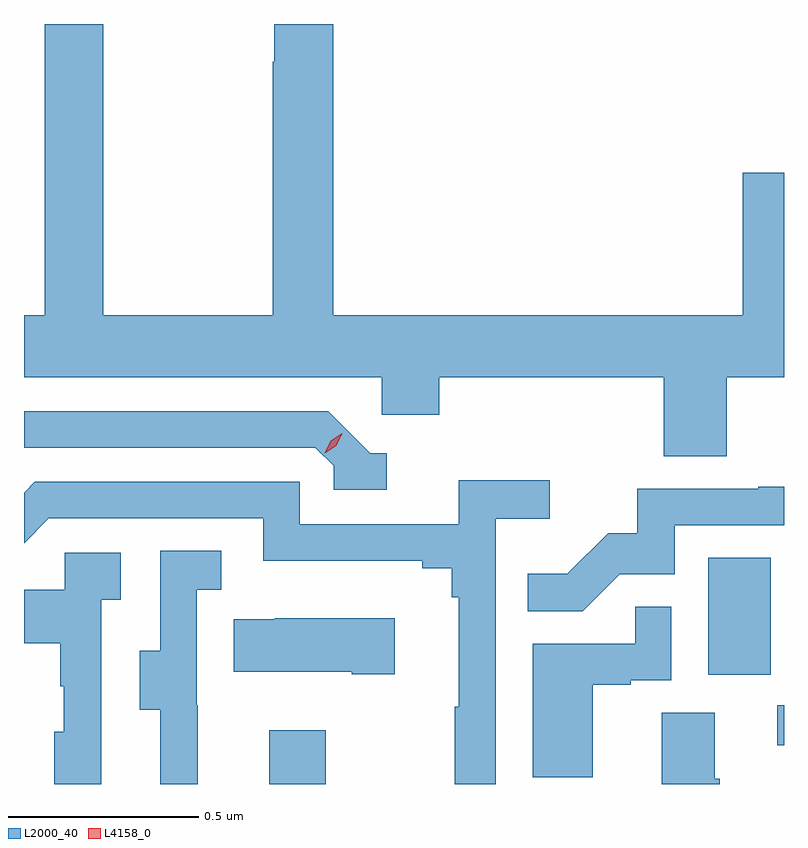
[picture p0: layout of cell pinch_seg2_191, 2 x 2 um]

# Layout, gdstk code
import gdstk
lib = gdstk.Library(unit=1e-6, precision=1e-09)
def R(c, l, rs):  # rectangles x0, y0, x1, y1
    for r in rs: c.add(gdstk.rectangle(r[:2], r[2:], *l))
def P(c, l, *ps):  # polygons
    for p in ps: c.add(gdstk.Polygon(p, *l))
L2000_40 = (2000, 40)
L4158_0 = (4158, 0)

pinch_seg2_191 = lib.new_cell('pinch_seg2_191')
R(pinch_seg2_191, L2000_40, [(1122.803,630.582,1122.951,630.724), (1124.139,630.684,1124.157,630.789), (1123.958,630.87,1124.122,631.177)])
P(pinch_seg2_191, L2000_40, [(1124.006,631.652),(1124.157,631.652),(1124.157,632.191),(1124.048,632.191),(1124.048,631.816),(1122.971,631.816),(1122.971,632.582),(1122.815,632.582),(1122.815,632.483),(1122.811,632.483),(1122.811,631.816),(1122.366,631.816),(1122.366,632.582),(1122.211,632.582),(1122.211,631.816),(1122.157,631.816),(1122.157,631.652),(1123.098,631.652),(1123.098,631.554),(1123.25,631.554),(1123.25,631.652),(1123.841,631.652),(1123.841,631.444),(1124.006,631.444)],
  [(1123.111,631.452),(1123.068,631.452),(1122.957,631.563),(1122.157,631.563),(1122.157,631.467),(1122.924,631.467),(1122.972,631.419),(1122.972,631.356),(1123.111,631.356)],
  [(1123.398,631.28),(1123.54,631.28),(1123.54,631.382),(1123.301,631.382),(1123.301,631.266),(1122.882,631.266),(1122.882,631.377),(1122.185,631.377),(1122.157,631.349),(1122.157,631.216),(1122.222,631.281),(1122.786,631.281),(1122.786,631.169),(1123.205,631.169),(1123.205,631.15),(1123.282,631.15),(1123.282,631.073),(1123.301,631.073),(1123.301,630.785),(1123.29,630.785),(1123.29,630.582),(1123.398,630.582)],
  [(1123.725,631.134),(1123.869,631.134),(1123.869,631.263),(1124.157,631.263),(1124.157,631.364),(1124.089,631.364),(1124.089,631.359),(1123.771,631.359),(1123.771,631.242),(1123.694,631.242),(1123.587,631.135),(1123.483,631.135),(1123.483,631.036),(1123.627,631.036)],
  [(1122.614,630.789),(1122.612,630.789),(1122.612,631.093),(1122.676,631.093),(1122.676,631.196),(1122.516,631.196),(1122.516,630.933),(1122.461,630.933),(1122.461,630.778),(1122.515,630.778),(1122.515,630.582),(1122.614,630.582)],
  [(1122.36,631.067),(1122.412,631.067),(1122.412,631.191),(1122.264,631.191),(1122.264,631.093),(1122.157,631.093),(1122.157,630.953),(1122.252,630.953),(1122.252,630.839),(1122.262,630.839),(1122.262,630.72),(1122.236,630.72),(1122.236,630.582),(1122.36,630.582)],
  [(1123.654,630.843),(1123.754,630.843),(1123.754,630.855),(1123.86,630.855),(1123.86,631.049),(1123.765,631.049),(1123.765,630.951),(1123.496,630.951),(1123.496,630.6),(1123.654,630.6)],
  [(1123.132,631.018),(1122.817,631.018),(1122.817,631.015),(1122.709,631.015),(1122.709,630.878),(1123.019,630.878),(1123.019,630.871),(1123.132,630.871)],
  [(1123.988,630.596),(1123.975,630.596),(1123.975,630.77),(1123.835,630.77),(1123.835,630.582),(1123.988,630.582)])
P(pinch_seg2_191, L4158_0, [(1122.948,631.453),(1122.948,631.453),(1122.964,631.485),(1122.995,631.505),(1122.995,631.505),(1122.995,631.505),(1122.979,631.472),(1122.949,631.453)])

lib.write_gds('pinch_seg2_191.gds')
